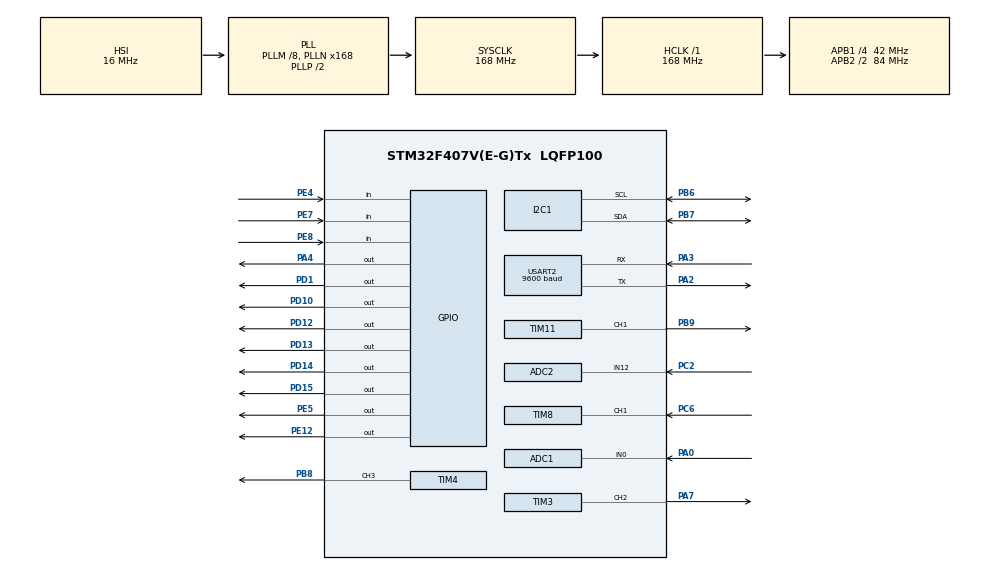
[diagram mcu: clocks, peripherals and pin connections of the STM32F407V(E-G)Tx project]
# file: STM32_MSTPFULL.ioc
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Mcu.Family=STM32F4
RCC.CortexFreq_Value=168000000
TIM8.ICPolarity_CH1=TIM_INPUTCHANNELPOLARITY_BOTHEDGE
ADC2.Channel-0\#ChannelRegularConversion=ADC_CHANNEL_12
RCC.SYSCLKSource=RCC_SYSCLKSOURCE_PLLCLK
ProjectManager.StackSize=0x400
PD13.Signal=GPIO_Output
RCC.HCLKFreq_Value=168000000
RCC.APB2TimFreq_Value=168000000
TIM3.Period=19999
PB6.Signal=I2C1_SCL
PB6.Mode=I2C
PE5.Signal=GPIO_Output
RCC.AHBFreq_Value=168000000
ADC1.Channel-0\#ChannelRegularConversion=ADC_CHANNEL_0
RCC.HSE_VALUE=25000000
TIM4.Channel-PWM\ Generation3\ CH3=TIM_CHANNEL_3
PA14.Mode=Serial_Wire
TIM3.Prescaler=83
PB7.Signal=I2C1_SDA
SH.ADCx_IN0.0=ADC1_IN0,IN0
TIM4.Period=19999
TIM6.Period=0xffff-1
PE4.Signal=GPIO_Input
ADC1.SamplingTime-0\#ChannelRegularConversion=ADC_SAMPLETIME_3CYCLES
PB9.Signal=S_TIM11_CH1
Mcu.Package=LQFP100
USART2.VirtualMode=VM_ASYNC
PD12.Signal=GPIO_Output
ADC2.SamplingTime-0\#ChannelRegularConversion=ADC_SAMPLETIME_3CYCLES
TIM8.Prescaler=83
RCC.APB2CLKDivider=RCC_HCLK_DIV2
RCC.APB1TimFreq_Value=84000000
PE7.Signal=GPIO_Input
ADC2.Rank-0\#ChannelRegularConversion=1
SH.S_TIM11_CH1.0=TIM11_CH1,PWM Generation1 CH1
PD15.Signal=GPIO_Output
PA3.Signal=USART2_RX
ADC1.Rank-0\#ChannelRegularConversion=1
TIM6.Prescaler=84-1
PC2.Signal=ADCx_IN12
PC6.Signal=S_TIM8_CH1
VP_TIM6_VS_ClockSourceINT.Mode=Enable_Timer
TIM8.Channel-Input_Capture1_from_TI1=TIM_CHANNEL_1
PD1.Signal=GPIO_Output
TIM11.Prescaler=209
RCC.APB1CLKDivider=RCC_HCLK_DIV4
USART2.BaudRate=9600
PA0-WKUP.Signal=ADCx_IN0
VP_TIM11_VS_ClockSourceINT.Mode=Enable_Timer
PD10.Signal=GPIO_Output
PA13.Signal=SYS_JTMS-SWDIO
PA3.Mode=Asynchronous
SH.ADCx_IN12.0=ADC2_IN12,IN12
ProjectManager.TargetToolchain=STM32CubeIDE
I2C1.I2C_Mode=I2C_Fast
SH.S_TIM4_CH3.0=TIM4_CH3,PWM Generation3 CH3
TIM4.Prescaler=83
RCC.LSE_VALUE=32768
SH.S_TIM3_CH2.0=TIM3_CH2,PWM Generation2 CH2
SH.S_TIM8_CH1.0=TIM8_CH1,TriggerSource_TI1FP1
SH.S_TIM8_CH1.1=TIM8_CH1,Input_Capture1_from_TI1
board=custom
RCC.VCOOutputFreq_Value=336000000
TIM11.Period=39999
RCC.APB2Freq_Value=84000000
PE8.Signal=GPIO_Input
ADC1.NbrOfConversion=1
PA13.Mode=Serial_Wire
Mcu.Name=STM32F407V(E-G)Tx
PE12.Signal=GPIO_Output
PA2.Signal=USART2_TX
PE4.GPIO_PuPd=GPIO_PULLDOWN
PD14.Signal=GPIO_Output
RCC.48MHZClocksFreq_Value=84000000
PA4.Signal=GPIO_Output
RCC.SYSCLKFreq_VALUE=168000000
ADC1.master=1
ADC2.NbrOfConversionFlag=1
PB7.Mode=I2C
PA14.Signal=SYS_JTCK-SWCLK
ProjectManager.HeapSize=0x200
RCC.HSI_VALUE=16000000
NVIC.PriorityGroup=NVIC_PRIORITYGROUP_4
ADC1.NbrOfConversionFlag=1
TIM3.Channel-PWM\ Generation2\ CH2=TIM_CHANNEL_2
RCC.PLLM=8
RCC.PLLN=168
TIM11.Channel=TIM_CHANNEL_1
PA2.Mode=Asynchronous
PB8.Signal=S_TIM4_CH3
RCC.APB1Freq_Value=42000000
VP_TIM8_VS_ControllerModeReset.Mode=Reset Mode
PA7.Signal=S_TIM3_CH2

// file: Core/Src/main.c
/* USER CODE BEGIN Header */
/**
  ******************************************************************************
  * @file           : main.c
  * @brief          : Main program body
  ******************************************************************************
  * @attention
  *
  * <h2><center>&copy; Copyright (c) 2022 STMicroelectronics.
  * All rights reserved.</center></h2>
  *
  * This software component is licensed by ST under BSD 3-Clause license,
  * the "License"; You may not use this file except in compliance with the
  * License. You may obtain a copy of the License at:
  *                        opensource.org/licenses/BSD-3-Clause
  *
  ******************************************************************************
  */
/* USER CODE END Header */
#include "main.h"

/* USER CODE BEGIN Includes */
#include <stdbool.h>
#include <stdio.h>
#include "string.h"
#define ADXL345_I2C_SLAVE_ADDRESS 0xA6 //0x53 << 1
/* USER CODE END Includes */

ADC_HandleTypeDef hadc1;
ADC_HandleTypeDef hadc2;

I2C_HandleTypeDef hi2c1;

TIM_HandleTypeDef htim3;
TIM_HandleTypeDef htim4;
TIM_HandleTypeDef htim6;
TIM_HandleTypeDef htim8;
TIM_HandleTypeDef htim11;

UART_HandleTypeDef huart2;

/* USER CODE BEGIN PV */
char rx_buffer[50];
int tx_buffer[50];
int tem=0;
int hum=0;
uint32_t echo1;
uint32_t delayy;
float dis1 ;
int limit=10;
int count=0;
uint16_t adc_value;
float Vadc;
uint16_t adcc_value;
float Vadcc;
//char *rx[50];
//char rxx_buffer[50],txx_buffer[50];
bool led_state = false;

uint8_t i;
uint8_t myDatas[6];
int16_t x , y , z;
float xG , yG, zG;
/* USER CODE END PV */

void SystemClock_Config(void);
static void MX_GPIO_Init(void);
static void MX_USART2_UART_Init(void);
static void MX_TIM6_Init(void);
static void MX_TIM11_Init(void);
static void MX_TIM8_Init(void);
static void MX_ADC1_Init(void);
static void MX_I2C1_Init(void);
static void MX_TIM3_Init(void);
static void MX_ADC2_Init(void);
static void MX_TIM4_Init(void);
/* USER CODE BEGIN PFP */
void Scan_I2C_Address();
void ADX345_Init();
void ADXL345_Write(uint8_t wRegister,uint8_t value);
void ADXL345_Read(uint8_t rRegister, uint8_t numberOfBytes);
void Sistem_ON();
void Sistem_OFF();
char rx[50];
void delay(uint16_t time)
{
	__HAL_TIM_SET_COUNTER(&htim6,0);
	while(__HAL_TIM_GET_COUNTER(&htim6)< time);
}

void Set_Pin_Output(GPIO_TypeDef *GPIOx,uint16_t GPIO_Pin)
{
	GPIO_InitTypeDef DHT11_DATA={0};

	DHT11_DATA.Pin=GPIO_Pin;
	DHT11_DATA.Mode=GPIO_MODE_OUTPUT_PP;
	DHT11_DATA.Pull=GPIO_NOPULL;
	DHT11_DATA.Speed=GPIO_SPEED_FREQ_LOW;

	HAL_GPIO_Init(GPIOx, &DHT11_DATA);
}
void Set_Pin_Input(GPIO_TypeDef *GPIOx,uint16_t GPIO_Pin)
{
	GPIO_InitTypeDef DHT11_DATA={0};

	DHT11_DATA.Pin=GPIO_Pin;
	DHT11_DATA.Mode=GPIO_MODE_INPUT;
	DHT11_DATA.Pull=GPIO_NOPULL;
	DHT11_DATA.Speed=GPIO_SPEED_FREQ_LOW;

	HAL_GPIO_Init(GPIOx, &DHT11_DATA);
}
#define DHT11_PORT GPIOA
#define DHT11_PIN GPIO_PIN_4

uint8_t durum=0,Humidity=0,Temperature=0;
uint16_t tempVal=0,humVal=0;
uint8_t dhtval[2];
char sendData[128];
uint8_t mData[40];
uint16_t mTime1 = 0,mTime2 = 0;
uint16_t mbit=0;
uint8_t parityVal=0, genParity=0;
int a = 15;
uint8_t DHT11_Read(void)
{
	for(int a=0;a<40;a++) mData[a]=0;

		mTime1=0, mTime2=0, durum=0, tempVal=0, humVal=0, parityVal=0, genParity=0, mbit=0;
		Set_Pin_Output(DHT11_PORT, DHT11_PIN);
		HAL_GPIO_WritePin(DHT11_PORT, DHT11_PIN, GPIO_PIN_RESET);
		delay(18000);
		Set_Pin_Input(DHT11_PORT, DHT11_PIN);

		__HAL_TIM_SET_COUNTER(&htim6,0);
		while(HAL_GPIO_ReadPin(DHT11_PORT, DHT11_PIN)==GPIO_PIN_SET) if((uint16_t)__HAL_TIM_GET_COUNTER(&htim6)>500) return 0;

		__HAL_TIM_SET_COUNTER(&htim6,0);
	    while(HAL_GPIO_ReadPin(DHT11_PORT, DHT11_PIN)==GPIO_PIN_RESET) if((uint16_t)__HAL_TIM_GET_COUNTER(&htim6)>500) return 0;
	    mTime1 =(uint16_t)__HAL_TIM_GET_COUNTER(&htim6);

	    __HAL_TIM_SET_COUNTER(&htim6,0);
	    while(HAL_GPIO_ReadPin(DHT11_PORT, DHT11_PIN)==GPIO_PIN_SET) if((uint16_t)__HAL_TIM_GET_COUNTER(&htim6)>500) return 0;
	    mTime2 =(uint16_t)__HAL_TIM_GET_COUNTER(&htim6);

	    if(mTime1 < 75 && mTime1 > 85 && mTime2 < 75 && mTime2 > 85)
	    {

	    	return 0;
	    }
	    for(int j=0; j<40; j++)
	    {
	    	__HAL_TIM_SET_COUNTER(&htim6,0);
	    	while(HAL_GPIO_ReadPin(DHT11_PORT, DHT11_PIN)==GPIO_PIN_RESET) if((uint16_t)__HAL_TIM_GET_COUNTER(&htim6)>500) return 0;
	    	__HAL_TIM_SET_COUNTER(&htim6,0);
	    	while(HAL_GPIO_ReadPin(DHT11_PORT, DHT11_PIN)==GPIO_PIN_SET) if((uint16_t)__HAL_TIM_GET_COUNTER(&htim6)>500) return 0;
	    	mTime1=(uint16_t)__HAL_TIM_GET_COUNTER(&htim6);
	    	if(mTime1 >20 && mTime1<30)
	    	{
	    		mbit=0;
	    	}
	    	else if(mTime1>60 && mTime1<80)
	    	{
	    		mbit=1;
	    	}
	    	mData[j]=mbit;
	    }
	    for(int i=0;i <8;i++)
	    {
	    	humVal +=mData[i];
	    	humVal=humVal<<1;
	    }
	    for(int i=16;i <24;i++)
	   	    {
	   	    	tempVal +=mData[i];
	   	    	tempVal=tempVal<<1;
	   	    }
	    for(int i=32;i <40;i++)
	   	    {
	   	    	parityVal +=mData[i];
	   	    	parityVal=parityVal<<1;
	   	    }
	    parityVal=parityVal >>1;
	    humVal=humVal >>1;
	    tempVal=tempVal >>1;
	    genParity=humVal+tempVal;
	    dhtval[0]=tempVal;
	    dhtval[1]=humVal;
	    return 1;
}
/* USER CODE END PFP */

/* USER CODE BEGIN 0 */
void Read_ADC()
{
	HAL_ADC_Start(&hadc1);
	if(HAL_ADC_PollForConversion(&hadc1, 100000)==HAL_OK)
	adc_value=HAL_ADC_GetValue(&hadc1);
	Vadc=5.5*adc_value/4095;
}
void Readd_ADC()
{
	HAL_ADC_Start(&hadc2);
	if(HAL_ADC_PollForConversion(&hadc2, 100000)==HAL_OK)
	adcc_value=HAL_ADC_GetValue(&hadc2);
	Vadcc=5.5*adcc_value/4095;
}

void Deprem_ON()
{
    if (zG<= 1.000)
	 {
		     HAL_GPIO_WritePin(GPIOD, GPIO_PIN_12, GPIO_PIN_SET);
		     HAL_Delay(100);
		     HAL_GPIO_WritePin(GPIOD, GPIO_PIN_12, GPIO_PIN_RESET);
		     HAL_GPIO_WritePin(GPIOE, GPIO_PIN_12, GPIO_PIN_SET);
		     HAL_Delay(360);
		     HAL_GPIO_WritePin(GPIOE, GPIO_PIN_12, GPIO_PIN_RESET);
		     HAL_Delay(720);
		     HAL_GPIO_WritePin(GPIOE, GPIO_PIN_12, GPIO_PIN_SET);
		     HAL_Delay(360);
		     HAL_GPIO_WritePin(GPIOE, GPIO_PIN_12, GPIO_PIN_RESET);

	 }
    else if(zG> 1.00)
     {
		     HAL_GPIO_WritePin(GPIOD,GPIO_PIN_12, GPIO_PIN_RESET);
		     HAL_GPIO_WritePin(GPIOE, GPIO_PIN_12, GPIO_PIN_RESET);
     }
}
void Deprem_OFF()
{
	 if (zG<= 1.000)
     {
             HAL_GPIO_WritePin(GPIOD,   GPIO_PIN_12, GPIO_PIN_RESET);
             HAL_GPIO_WritePin(GPIOE, GPIO_PIN_12, GPIO_PIN_RESET);
     }
     else
     {
             HAL_GPIO_WritePin(GPIOD,   GPIO_PIN_12, GPIO_PIN_RESET);
             HAL_GPIO_WritePin(GPIOE, GPIO_PIN_12, GPIO_PIN_RESET);
     }
}
void Ldr_ON()
{
	 if(Vadc<2.7)
     {
		     HAL_GPIO_WritePin(GPIOD, GPIO_PIN_10, GPIO_PIN_SET);

	 }
    if(Vadc>2.7)
    {
		     HAL_GPIO_WritePin(GPIOD, GPIO_PIN_10, GPIO_PIN_RESET);
		     HAL_Delay(20);
    }
}
void Ldr_OFF()
{
    if(Vadc<2.7)
   	{
   		     HAL_GPIO_WritePin(GPIOD, GPIO_PIN_10, GPIO_PIN_RESET);
   	         HAL_Delay(20);
   }
 	  if(Vadc>2.7)
      {
 	         HAL_GPIO_WritePin(GPIOD, GPIO_PIN_10, GPIO_PIN_RESET);
		     HAL_Delay(20);
     }
}
void Hareket_ON()
{
	if(HAL_GPIO_ReadPin(GPIOE, GPIO_PIN_8) == GPIO_PIN_SET)
	 {
		   HAL_GPIO_WritePin(GPIOD, GPIO_PIN_14, GPIO_PIN_SET);
		   HAL_GPIO_WritePin(GPIOD, GPIO_PIN_1, GPIO_PIN_SET);
		   HAL_Delay(360);
	       HAL_GPIO_WritePin(GPIOD, GPIO_PIN_1, GPIO_PIN_RESET);
		   HAL_Delay(720);
		   HAL_GPIO_WritePin(GPIOD, GPIO_PIN_1, GPIO_PIN_SET);
		   HAL_Delay(360);
		   HAL_GPIO_WritePin(GPIOD, GPIO_PIN_1, GPIO_PIN_RESET);
	}
	if(HAL_GPIO_ReadPin(GPIOE, GPIO_PIN_8) == GPIO_PIN_RESET)
    {
		     HAL_GPIO_WritePin(GPIOD, GPIO_PIN_14, GPIO_PIN_RESET);
		     HAL_GPIO_WritePin(GPIOD, GPIO_PIN_1, GPIO_PIN_RESET);
    }
}
void Hareket_OFF()
{
	 if(HAL_GPIO_ReadPin(GPIOE, GPIO_PIN_8) == GPIO_PIN_RESET)
     {
			HAL_GPIO_WritePin(GPIOD, GPIO_PIN_14, GPIO_PIN_RESET);
		    HAL_GPIO_WritePin(GPIOD, GPIO_PIN_1, GPIO_PIN_RESET);
     }
	 else if(HAL_GPIO_ReadPin(GPIOE, GPIO_PIN_8) == GPIO_PIN_SET);
	{
		    HAL_GPIO_WritePin(GPIOD, GPIO_PIN_14, GPIO_PIN_RESET);
		    HAL_GPIO_WritePin(GPIOD, GPIO_PIN_1, GPIO_PIN_RESET);
	}
}
void Gaz_ON()
{
	if(adcc_value>2000)
   {
		     HAL_GPIO_WritePin(GPIOD, GPIO_PIN_13, GPIO_PIN_SET);
			 HAL_Delay(20);
		     HAL_GPIO_WritePin(GPIOE, GPIO_PIN_12, GPIO_PIN_SET);
		     HAL_Delay(360);
		     HAL_GPIO_WritePin(GPIOE, GPIO_PIN_12, GPIO_PIN_RESET);
		     HAL_Delay(720);
		     HAL_GPIO_WritePin(GPIOE, GPIO_PIN_12, GPIO_PIN_SET);
		     HAL_Delay(360);
		     HAL_GPIO_WritePin(GPIOE, GPIO_PIN_12, GPIO_PIN_RESET);
	}
	else
   {

		    HAL_GPIO_WritePin(GPIOD, GPIO_PIN_13, GPIO_PIN_RESET);
		    HAL_GPIO_WritePin(GPIOE, GPIO_PIN_12, GPIO_PIN_RESET);
    }
}
void Gaz_OFF()
{
			HAL_GPIO_WritePin(GPIOE, GPIO_PIN_12, GPIO_PIN_RESET);
			HAL_GPIO_WritePin(GPIOD, GPIO_PIN_13, GPIO_PIN_RESET);
}
void Fire_ON()
{
	//yangın sensörü
if(HAL_GPIO_ReadPin(GPIOE, GPIO_PIN_7)==GPIO_PIN_RESET)
	     {
		    HAL_GPIO_WritePin(GPIOD, GPIO_PIN_15, GPIO_PIN_SET);
		   HAL_GPIO_WritePin(GPIOE, GPIO_PIN_12, GPIO_PIN_SET);
		    HAL_Delay(360);
		    HAL_GPIO_WritePin(GPIOE, GPIO_PIN_12, GPIO_PIN_RESET);
		    HAL_Delay(720);
		    HAL_GPIO_WritePin(GPIOE, GPIO_PIN_12, GPIO_PIN_SET);
	        HAL_Delay(360);
		    HAL_GPIO_WritePin(GPIOE, GPIO_PIN_12, GPIO_PIN_RESET);

		 }
if(HAL_GPIO_ReadPin(GPIOE, GPIO_PIN_7)==GPIO_PIN_SET)
    {
	        HAL_GPIO_WritePin(GPIOD, GPIO_PIN_15, GPIO_PIN_RESET);
	        HAL_GPIO_WritePin(GPIOE, GPIO_PIN_12, GPIO_PIN_RESET);
     }
}
void Fire_OFF()
{  //YANGIN SENSÖRÜ
	       HAL_GPIO_WritePin(GPIOD, GPIO_PIN_15, GPIO_PIN_RESET);
	       HAL_GPIO_WritePin(GPIOE, GPIO_PIN_12, GPIO_PIN_RESET);
}
void Garaj_ON()
{
	 if(limit>=dis1)
   {
    __HAL_TIM_SET_COMPARE(&htim4,TIM_CHANNEL_3,500);
    HAL_Delay(100);
   __HAL_TIM_SET_COMPARE(&htim4,TIM_CHANNEL_3,1500); //MOTOR HCSR
   HAL_Delay(200);
   }
	 else
    {
       __HAL_TIM_SET_COMPARE(&htim4,TIM_CHANNEL_3,1500);
	  HAL_Delay(100);
	  __HAL_TIM_SET_COMPARE(&htim4,TIM_CHANNEL_3,500);
  }
}
void Garaj_OFF()
{
	 if(limit>=dis1)
  {
   __HAL_TIM_SET_COMPARE(&htim4,TIM_CHANNEL_3,1500);
   HAL_Delay(100);
  }
	 else
   {
      __HAL_TIM_SET_COMPARE(&htim4,TIM_CHANNEL_3,1500);
	  HAL_Delay(100);
 }
}
/* USER CODE END 0 */

int main(void)
{

  /* MCU Configuration--------------------------------------------------------*/

  /* Reset of all peripherals, Initializes the Flash interface and the Systick. */
  HAL_Init();

  /* Configure the system clock */
  SystemClock_Config();

  /* Initialize all configured peripherals */
  MX_GPIO_Init();
  MX_USART2_UART_Init();
  MX_TIM6_Init();
  MX_TIM11_Init();
  MX_TIM8_Init();
  MX_ADC1_Init();
  MX_I2C1_Init();
  MX_TIM3_Init();
  MX_ADC2_Init();
  MX_TIM4_Init();
  /* USER CODE BEGIN 2 */
  Scan_I2C_Address();
  ADX345_Init();
  HAL_TIM_Base_Start(&htim6);
  HAL_TIM_Base_Start(&htim8);
  HAL_TIM_Base_Start(&htim11);
  HAL_TIM_PWM_Start(&htim11,  TIM_CHANNEL_1);
  HAL_TIM_PWM_Start(&htim3, TIM_CHANNEL_3);
  HAL_TIM_PWM_Start(&htim3, TIM_CHANNEL_4);
  HAL_TIM_PWM_Start(&htim3, TIM_CHANNEL_2);
  HAL_TIM_PWM_Start(&htim4,  TIM_CHANNEL_3);
  HAL_TIM_IC_Start(&htim8, TIM_CHANNEL_1);

  TIM11->CCR1=3;
  /* USER CODE END 2 */

  /* Infinite loop */
  while (1)
  {

    /* USER CODE BEGIN 3 */

	  Read_ADC();
	  Readd_ADC();
	  ADXL345_Read(0x32, 6);
	  x= (myDatas[1] << 8) | myDatas[0] ; // x value in myDatas[0] myDatas[1];
	  y= (myDatas[3] << 8) | myDatas[2] ; // x value in myDatas[2] myDatas[3];
	  z= (myDatas[5] << 8) | myDatas[4] ; // x value in myDatas[5] myDatas[4];
	  xG=x* .0087;
	  yG=y* .0087;
	  zG=z* .0087;
	  HAL_Delay(10);
	  HAL_UART_Receive(&huart2, (uint8_t*)rx_buffer, 50, 100);
	  durum=DHT11_Read();
			  if(durum==1)
			  {
				  Temperature=tempVal;
				  Humidity=humVal;
				  hum=humVal;
				  tem=tempVal;
			  }
			    if(durum==1)
			 {
				    uint16_t len = sprintf(sendData, "Nem Değeri: %d\n Sıcaklık: %d\n\r", dhtval[1], dhtval[0]);
				     //send data with UART
				     HAL_UART_Transmit(&huart2, (uint8_t*)sendData, len, 100);
				     //    HAL_Delay(1000);
			   }
			  if(HAL_GetTick()-delayy >= 100)//hcsr
		      {
				  delayy=HAL_GetTick();
				  echo1=HAL_TIM_ReadCapturedValue(&htim8, TIM_CHANNEL_1);
				  dis1=echo1/58.0f;
		     }
			  HAL_Delay(1000);
	       HAL_Delay(1000);
			  if(rx_buffer[0]=='w')
			  {
			 	 Sistem_ON();
			  }
			  if(rx_buffer[0]=='z')
			  {
				  Sistem_OFF();
			  }
			  if(rx_buffer[0]=='a')//ldac
			  {
				   Fire_ON();
				   Deprem_ON();
				   Ldr_ON();
				   Hareket_OFF();
				   Gaz_ON();
				   Garaj_ON();
				   HAL_GPIO_WritePin(GPIOE,GPIO_PIN_5, GPIO_PIN_SET);
				   HAL_Delay(1000);
			  }
			  if(rx_buffer[0]=='b')//leadkapa
			 			  {
				   Fire_ON();
				   Deprem_ON();
				   Ldr_ON();
				   Hareket_OFF();
				   Gaz_ON();
				   Garaj_ON();
				   HAL_GPIO_WritePin(GPIOE,GPIO_PIN_5, GPIO_PIN_RESET);
				   HAL_Delay(1000);
			 			  }

			  if(rx_buffer[0]=='o')//motoracPENCERE
			 	  {
					__HAL_TIM_SET_COMPARE(&htim3,TIM_CHANNEL_2,1500);
							   HAL_Delay(200);
							 //  __HAL_TIM_SET_COMPARE(&htim3,TIM_CHANNEL_2,500);
								HAL_Delay(200);
				   Fire_ON();
				   Deprem_ON();
				   Ldr_ON();
				   Hareket_OFF();
				  Gaz_ON();
				   Garaj_ON();

			 		  }
			  if(rx_buffer[0]=='c')//motorkapaPENCERE
			 			  {
					__HAL_TIM_SET_COMPARE(&htim3,TIM_CHANNEL_2,500);
									HAL_Delay(200);
							//  __HAL_TIM_SET_COMPARE(&htim3,TIM_CHANNEL_2,1500);
									HAL_Delay(200);
				   Fire_ON();
				   Deprem_ON();
				   Ldr_ON();
				   Hareket_OFF();
				   Gaz_ON();
				   Garaj_ON();

			 			  }
			  if(rx_buffer[0]=='d')//ldr ac
			 			  {
				   Fire_ON();
				   Deprem_ON();
				   Ldr_ON();
				   Hareket_OFF();
				   Gaz_ON();
				   Garaj_ON();
			 			  }

			  if(rx_buffer[0]=='e')//ldrkapa
			 			  {
				   Fire_ON();
				   Deprem_ON();
				   Ldr_OFF();
				   Hareket_OFF();
				   Gaz_ON();
				   Garaj_ON();
			 			  }
			  if(rx_buffer[0]=='f')//pırac
			 			  {
				   Fire_OFF();
				   Deprem_OFF();
				   Ldr_OFF();
				   Hareket_ON();
				   Gaz_OFF();
				   Garaj_OFF();
			 			  }
			  if(rx_buffer[0]=='g')//pırkapa
			 			  {
				   Fire_OFF();
				   Deprem_OFF();
				   Ldr_OFF();
				   Hareket_OFF();
				   Gaz_OFF();
				   Garaj_OFF();
			 			  }
			  if(rx_buffer[0]=='h')//gazon
			 	 		  {
				   Fire_ON();
				   Deprem_ON();
				   Ldr_ON();
				   Hareket_OFF();
				   Gaz_ON();
				   Garaj_ON();
			 			  }
			  if(rx_buffer[0]=='j')//gazof
			 			  {
				   Fire_ON();
				   Deprem_ON();
				   Ldr_ON();
				   Hareket_OFF();
				   Gaz_OFF();
				   Garaj_ON();
			 			  }
			  if(rx_buffer[0]=='k')//yangınac
						   {
				   Fire_ON();
				   Deprem_ON();
				   Ldr_ON();
				   Hareket_OFF();
				   Gaz_ON();
				   Garaj_ON();
						   }
			  if(rx_buffer[0]=='l')//yangın kapat
			 			  {
				   Fire_OFF();
				   Deprem_ON();
				   Ldr_ON();
				   Hareket_OFF();
				   Gaz_ON();
				   Garaj_ON();
			 			  }
			  if(rx_buffer[0]=='m')//depremac
			 			  {
				   Fire_ON();
				   Deprem_ON();
				   Ldr_ON();
				   Hareket_OFF();
				   Gaz_ON();
				   Garaj_ON();
			 			  }
			  if(rx_buffer[0]=='n')//depremkapa
			 			  {
				   Fire_ON();
				   Deprem_OFF();
				   Ldr_ON();
				   Hareket_OFF();
				   Gaz_ON();
				   Garaj_ON();
			 			  }
			  if(rx_buffer[0]=='p')//garaj on
			 			  {
				   Fire_ON();
				   Deprem_ON();
				   Ldr_ON();
				   Hareket_OFF();
				   Gaz_ON();
				   Garaj_ON();
			 			  }
			  if(rx_buffer[0]=='r')//garakof
			 			  {
				   Fire_ON();
				   Deprem_ON();
				   Ldr_ON();
				   Hareket_OFF();
				   Gaz_ON();
				   Garaj_OFF();
			 			  }
			  if(rx_buffer[0]=='s')//kapıac
			 			  {
				  __HAL_TIM_SET_COMPARE(&htim3,TIM_CHANNEL_2,1500);
				 				   HAL_Delay(200);
				 				  __HAL_TIM_SET_COMPARE(&htim3,TIM_CHANNEL_2,500);
				 				   HAL_Delay(200);
				  // Fire_ON();
				//   Deprem_ON();
				 //  Ldr_ON();
				 //  Hareket_OFF();
				 //  Gaz_ON();
				 //  Garaj_ON();

			 			  }
			  if(rx_buffer[0]=='t')//kapıkapa
			 			  {
				   __HAL_TIM_SET_COMPARE(&htim3,TIM_CHANNEL_2,500);
							   HAL_Delay(200);
								   __HAL_TIM_SET_COMPARE(&htim3,TIM_CHANNEL_2,1500);
							   HAL_Delay(200);
				//   Fire_ON();
				//   Deprem_ON();
				 //  Ldr_ON();
				//   Hareket_OFF();
				 //  Gaz_ON();
				 //  Garaj_ON();

			 			  }
			  if(rx_buffer[0]=='y')
			  {
				  Fire_ON();
				  Gaz_ON();
				  Hareket_ON();
			  }
	                if(HAL_GPIO_ReadPin(GPIOE, GPIO_PIN_4))
	             		{
	                     while(HAL_GPIO_ReadPin(GPIOE, GPIO_PIN_4))
	                       HAL_Delay(100);
	                      count++;
	            		}
	                 if(count%2==1)
	                  {
	                 	  	 HAL_GPIO_WritePin(GPIOE,GPIO_PIN_5, GPIO_PIN_SET);
	                   }
	                 else if(count%2==0)
	                 {
	                 	     HAL_GPIO_WritePin(GPIOE,GPIO_PIN_5, GPIO_PIN_RESET);
	                  }

   }
  /* USER CODE END 3 */
}

void SystemClock_Config(void)
{
  RCC_OscInitTypeDef RCC_OscInitStruct = {0};
  RCC_ClkInitTypeDef RCC_ClkInitStruct = {0};

  /** Configure the main internal regulator output voltage
  */
  __HAL_RCC_PWR_CLK_ENABLE();
  __HAL_PWR_VOLTAGESCALING_CONFIG(PWR_REGULATOR_VOLTAGE_SCALE1);
  /** Initializes the RCC Oscillators according to the specified parameters
  * in the RCC_OscInitTypeDef structure.
  */
  RCC_OscInitStruct.OscillatorType = RCC_OSCILLATORTYPE_HSI;
  RCC_OscInitStruct.HSIState = RCC_HSI_ON;
  RCC_OscInitStruct.HSICalibrationValue = RCC_HSICALIBRATION_DEFAULT;
  RCC_OscInitStruct.PLL.PLLState = RCC_PLL_ON;
  RCC_OscInitStruct.PLL.PLLSource = RCC_PLLSOURCE_HSI;
  RCC_OscInitStruct.PLL.PLLM = 8;
  RCC_OscInitStruct.PLL.PLLN = 168;
  RCC_OscInitStruct.PLL.PLLP = RCC_PLLP_DIV2;
  RCC_OscInitStruct.PLL.PLLQ = 4;
  if (HAL_RCC_OscConfig(&RCC_OscInitStruct) != HAL_OK)
  {
    Error_Handler();
  }
  /** Initializes the CPU, AHB and APB buses clocks
  */
  RCC_ClkInitStruct.ClockType = RCC_CLOCKTYPE_HCLK|RCC_CLOCKTYPE_SYSCLK
                              |RCC_CLOCKTYPE_PCLK1|RCC_CLOCKTYPE_PCLK2;
  RCC_ClkInitStruct.SYSCLKSource = RCC_SYSCLKSOURCE_PLLCLK;
  RCC_ClkInitStruct.AHBCLKDivider = RCC_SYSCLK_DIV1;
  RCC_ClkInitStruct.APB1CLKDivider = RCC_HCLK_DIV4;
  RCC_ClkInitStruct.APB2CLKDivider = RCC_HCLK_DIV2;

  if (HAL_RCC_ClockConfig(&RCC_ClkInitStruct, FLASH_LATENCY_5) != HAL_OK)
  {
    Error_Handler();
  }
}

static void MX_ADC1_Init(void)
{

  ADC_ChannelConfTypeDef sConfig = {0};

  /** Configure the global features of the ADC (Clock, Resolution, Data Alignment and number of conversion)
  */
  hadc1.Instance = ADC1;
  hadc1.Init.ClockPrescaler = ADC_CLOCK_SYNC_PCLK_DIV4;
  hadc1.Init.Resolution = ADC_RESOLUTION_12B;
  hadc1.Init.ScanConvMode = DISABLE;
  hadc1.Init.ContinuousConvMode = DISABLE;
  hadc1.Init.DiscontinuousConvMode = DISABLE;
  hadc1.Init.ExternalTrigConvEdge = ADC_EXTERNALTRIGCONVEDGE_NONE;
  hadc1.Init.ExternalTrigConv = ADC_SOFTWARE_START;
  hadc1.Init.DataAlign = ADC_DATAALIGN_RIGHT;
  hadc1.Init.NbrOfConversion = 1;
  hadc1.Init.DMAContinuousRequests = DISABLE;
  hadc1.Init.EOCSelection = ADC_EOC_SINGLE_CONV;
  if (HAL_ADC_Init(&hadc1) != HAL_OK)
  {
    Error_Handler();
  }
  /** Configure for the selected ADC regular channel its corresponding rank in the sequencer and its sample time.
  */
  sConfig.Channel = ADC_CHANNEL_0;
  sConfig.Rank = 1;
  sConfig.SamplingTime = ADC_SAMPLETIME_3CYCLES;
  if (HAL_ADC_ConfigChannel(&hadc1, &sConfig) != HAL_OK)
  {
    Error_Handler();
  }

}

static void MX_ADC2_Init(void)
{

  ADC_ChannelConfTypeDef sConfig = {0};

  /** Configure the global features of the ADC (Clock, Resolution, Data Alignment and number of conversion)
  */
  hadc2.Instance = ADC2;
  hadc2.Init.ClockPrescaler = ADC_CLOCK_SYNC_PCLK_DIV4;
  hadc2.Init.Resolution = ADC_RESOLUTION_12B;
  hadc2.Init.ScanConvMode = DISABLE;
  hadc2.Init.ContinuousConvMode = DISABLE;
  hadc2.Init.DiscontinuousConvMode = DISABLE;
  hadc2.Init.ExternalTrigConvEdge = ADC_EXTERNALTRIGCONVEDGE_NONE;
  hadc2.Init.ExternalTrigConv = ADC_SOFTWARE_START;
  hadc2.Init.DataAlign = ADC_DATAALIGN_RIGHT;
  hadc2.Init.NbrOfConversion = 1;
  hadc2.Init.DMAContinuousRequests = DISABLE;
  hadc2.Init.EOCSelection = ADC_EOC_SINGLE_CONV;
  if (HAL_ADC_Init(&hadc2) != HAL_OK)
  {
    Error_Handler();
  }
  /** Configure for the selected ADC regular channel its corresponding rank in the sequencer and its sample time.
  */
  sConfig.Channel = ADC_CHANNEL_12;
  sConfig.Rank = 1;
  sConfig.SamplingTime = ADC_SAMPLETIME_3CYCLES;
  if (HAL_ADC_ConfigChannel(&hadc2, &sConfig) != HAL_OK)
  {
    Error_Handler();
  }

}

static void MX_I2C1_Init(void)
{

  hi2c1.Instance = I2C1;
  hi2c1.Init.ClockSpeed = 400000;
  hi2c1.Init.DutyCycle = I2C_DUTYCYCLE_2;
  hi2c1.Init.OwnAddress1 = 0;
  hi2c1.Init.AddressingMode = I2C_ADDRESSINGMODE_7BIT;
  hi2c1.Init.DualAddressMode = I2C_DUALADDRESS_DISABLE;
  hi2c1.Init.OwnAddress2 = 0;
  hi2c1.Init.GeneralCallMode = I2C_GENERALCALL_DISABLE;
  hi2c1.Init.NoStretchMode = I2C_NOSTRETCH_DISABLE;
  if (HAL_I2C_Init(&hi2c1) != HAL_OK)
  {
    Error_Handler();
  }

}

static void MX_TIM3_Init(void)
{

  TIM_MasterConfigTypeDef sMasterConfig = {0};
  TIM_OC_InitTypeDef sConfigOC = {0};

  htim3.Instance = TIM3;
  htim3.Init.Prescaler = 83;
  htim3.Init.CounterMode = TIM_COUNTERMODE_UP;
  htim3.Init.Period = 19999;
  htim3.Init.ClockDivision = TIM_CLOCKDIVISION_DIV1;
  htim3.Init.AutoReloadPreload = TIM_AUTORELOAD_PRELOAD_DISABLE;
  if (HAL_TIM_PWM_Init(&htim3) != HAL_OK)
  {
    Error_Handler();
  }
  sMasterConfig.MasterOutputTrigger = TIM_TRGO_RESET;
  sMasterConfig.MasterSlaveMode = TIM_MASTERSLAVEMODE_DISABLE;
  if (HAL_TIMEx_MasterConfigSynchronization(&htim3, &sMasterConfig) != HAL_OK)
  {
    Error_Handler();
  }
  sConfigOC.OCMode = TIM_OCMODE_PWM1;
  sConfigOC.Pulse = 0;
  sConfigOC.OCPolarity = TIM_OCPOLARITY_HIGH;
  sConfigOC.OCFastMode = TIM_OCFAST_DISABLE;
  if (HAL_TIM_PWM_ConfigChannel(&htim3, &sConfigOC, TIM_CHANNEL_2) != HAL_OK)
  {
    Error_Handler();
  }
  HAL_TIM_MspPostInit(&htim3);

}

static void MX_TIM4_Init(void)
{

  TIM_MasterConfigTypeDef sMasterConfig = {0};
  TIM_OC_InitTypeDef sConfigOC = {0};

  htim4.Instance = TIM4;
  htim4.Init.Prescaler = 83;
  htim4.Init.CounterMode = TIM_COUNTERMODE_UP;
  htim4.Init.Period = 19999;
  htim4.Init.ClockDivision = TIM_CLOCKDIVISION_DIV1;
  htim4.Init.AutoReloadPreload = TIM_AUTORELOAD_PRELOAD_DISABLE;
  if (HAL_TIM_PWM_Init(&htim4) != HAL_OK)
  {
    Error_Handler();
  }
  sMasterConfig.MasterOutputTrigger = TIM_TRGO_RESET;
  sMasterConfig.MasterSlaveMode = TIM_MASTERSLAVEMODE_DISABLE;
  if (HAL_TIMEx_MasterConfigSynchronization(&htim4, &sMasterConfig) != HAL_OK)
  {
    Error_Handler();
  }
  sConfigOC.OCMode = TIM_OCMODE_PWM1;
  sConfigOC.Pulse = 0;
  sConfigOC.OCPolarity = TIM_OCPOLARITY_HIGH;
  sConfigOC.OCFastMode = TIM_OCFAST_DISABLE;
  if (HAL_TIM_PWM_ConfigChannel(&htim4, &sConfigOC, TIM_CHANNEL_3) != HAL_OK)
  {
    Error_Handler();
  }
  HAL_TIM_MspPostInit(&htim4);

}

static void MX_TIM6_Init(void)
{

  TIM_MasterConfigTypeDef sMasterConfig = {0};

  htim6.Instance = TIM6;
  htim6.Init.Prescaler = 84-1;
  htim6.Init.CounterMode = TIM_COUNTERMODE_UP;
  htim6.Init.Period = 0xffff-1;
  htim6.Init.AutoReloadPreload = TIM_AUTORELOAD_PRELOAD_DISABLE;
  if (HAL_TIM_Base_Init(&htim6) != HAL_OK)
  {
    Error_Handler();
  }
  sMasterConfig.MasterOutputTrigger = TIM_TRGO_RESET;
  sMasterConfig.MasterSlaveMode = TIM_MASTERSLAVEMODE_DISABLE;
  if (HAL_TIMEx_MasterConfigSynchronization(&htim6, &sMasterConfig) != HAL_OK)
  {
    Error_Handler();
  }

}

static void MX_TIM8_Init(void)
{

  TIM_SlaveConfigTypeDef sSlaveConfig = {0};
  TIM_MasterConfigTypeDef sMasterConfig = {0};
  TIM_IC_InitTypeDef sConfigIC = {0};

  htim8.Instance = TIM8;
  htim8.Init.Prescaler = 83;
  htim8.Init.CounterMode = TIM_COUNTERMODE_UP;
  htim8.Init.Period = 65535;
  htim8.Init.ClockDivision = TIM_CLOCKDIVISION_DIV1;
  htim8.Init.RepetitionCounter = 0;
  htim8.Init.AutoReloadPreload = TIM_AUTORELOAD_PRELOAD_DISABLE;
  if (HAL_TIM_Base_Init(&htim8) != HAL_OK)
  {
    Error_Handler();
  }
  if (HAL_TIM_IC_Init(&htim8) != HAL_OK)
  {
    Error_Handler();
  }
  sSlaveConfig.SlaveMode = TIM_SLAVEMODE_RESET;
  sSlaveConfig.InputTrigger = TIM_TS_TI1FP1;
  sSlaveConfig.TriggerPolarity = TIM_INPUTCHANNELPOLARITY_BOTHEDGE;
  sSlaveConfig.TriggerFilter = 0;
  if (HAL_TIM_SlaveConfigSynchro(&htim8, &sSlaveConfig) != HAL_OK)
  {
    Error_Handler();
  }
  sMasterConfig.MasterOutputTrigger = TIM_TRGO_RESET;
  sMasterConfig.MasterSlaveMode = TIM_MASTERSLAVEMODE_DISABLE;
  if (HAL_TIMEx_MasterConfigSynchronization(&htim8, &sMasterConfig) != HAL_OK)
  {
    Error_Handler();
  }
  sConfigIC.ICPolarity = TIM_INPUTCHANNELPOLARITY_BOTHEDGE;
  sConfigIC.ICSelection = TIM_ICSELECTION_DIRECTTI;
  sConfigIC.ICPrescaler = TIM_ICPSC_DIV1;
  sConfigIC.ICFilter = 0;
  if (HAL_TIM_IC_ConfigChannel(&htim8, &sConfigIC, TIM_CHANNEL_1) != HAL_OK)
  {
    Error_Handler();
  }

}

static void MX_TIM11_Init(void)
{

  TIM_OC_InitTypeDef sConfigOC = {0};

  htim11.Instance = TIM11;
  htim11.Init.Prescaler = 209;
  htim11.Init.CounterMode = TIM_COUNTERMODE_UP;
  htim11.Init.Period = 39999;
  htim11.Init.ClockDivision = TIM_CLOCKDIVISION_DIV1;
  htim11.Init.AutoReloadPreload = TIM_AUTORELOAD_PRELOAD_DISABLE;
  if (HAL_TIM_Base_Init(&htim11) != HAL_OK)
  {
    Error_Handler();
  }
  if (HAL_TIM_PWM_Init(&htim11) != HAL_OK)
  {
    Error_Handler();
  }
  sConfigOC.OCMode = TIM_OCMODE_PWM1;
  sConfigOC.Pulse = 0;
  sConfigOC.OCPolarity = TIM_OCPOLARITY_HIGH;
  sConfigOC.OCFastMode = TIM_OCFAST_DISABLE;
  if (HAL_TIM_PWM_ConfigChannel(&htim11, &sConfigOC, TIM_CHANNEL_1) != HAL_OK)
  {
    Error_Handler();
  }
  HAL_TIM_MspPostInit(&htim11);

}

static void MX_USART2_UART_Init(void)
{

  huart2.Instance = USART2;
  huart2.Init.BaudRate = 9600;
  huart2.Init.WordLength = UART_WORDLENGTH_8B;
  huart2.Init.StopBits = UART_STOPBITS_1;
  huart2.Init.Parity = UART_PARITY_NONE;
  huart2.Init.Mode = UART_MODE_TX_RX;
  huart2.Init.HwFlowCtl = UART_HWCONTROL_NONE;
  huart2.Init.OverSampling = UART_OVERSAMPLING_16;
  if (HAL_UART_Init(&huart2) != HAL_OK)
  {
    Error_Handler();
  }

}

static void MX_GPIO_Init(void)
{
  GPIO_InitTypeDef GPIO_InitStruct = {0};

  /* GPIO Ports Clock Enable */
  __HAL_RCC_GPIOE_CLK_ENABLE();
  __HAL_RCC_GPIOC_CLK_ENABLE();
  __HAL_RCC_GPIOA_CLK_ENABLE();
  __HAL_RCC_GPIOD_CLK_ENABLE();
  __HAL_RCC_GPIOB_CLK_ENABLE();

  /*Configure GPIO pin Output Level */
  HAL_GPIO_WritePin(GPIOE, GPIO_PIN_5|GPIO_PIN_12, GPIO_PIN_RESET);

  /*Configure GPIO pin Output Level */
  HAL_GPIO_WritePin(GPIOA, GPIO_PIN_4, GPIO_PIN_RESET);

  /*Configure GPIO pin Output Level */
  HAL_GPIO_WritePin(GPIOD, GPIO_PIN_10|GPIO_PIN_12|GPIO_PIN_13|GPIO_PIN_14
                          |GPIO_PIN_15|GPIO_PIN_1, GPIO_PIN_RESET);

  /*Configure GPIO pin : PE4 */
  GPIO_InitStruct.Pin = GPIO_PIN_4;
  GPIO_InitStruct.Mode = GPIO_MODE_INPUT;
  GPIO_InitStruct.Pull = GPIO_PULLDOWN;
  HAL_GPIO_Init(GPIOE, &GPIO_InitStruct);

  /*Configure GPIO pins : PE5 PE12 */
  GPIO_InitStruct.Pin = GPIO_PIN_5|GPIO_PIN_12;
  GPIO_InitStruct.Mode = GPIO_MODE_OUTPUT_PP;
  GPIO_InitStruct.Pull = GPIO_NOPULL;
  GPIO_InitStruct.Speed = GPIO_SPEED_FREQ_LOW;
  HAL_GPIO_Init(GPIOE, &GPIO_InitStruct);

  /*Configure GPIO pin : PA4 */
  GPIO_InitStruct.Pin = GPIO_PIN_4;
  GPIO_InitStruct.Mode = GPIO_MODE_OUTPUT_PP;
  GPIO_InitStruct.Pull = GPIO_NOPULL;
  GPIO_InitStruct.Speed = GPIO_SPEED_FREQ_LOW;
  HAL_GPIO_Init(GPIOA, &GPIO_InitStruct);

  /*Configure GPIO pins : PE7 PE8 */
  GPIO_InitStruct.Pin = GPIO_PIN_7|GPIO_PIN_8;
  GPIO_InitStruct.Mode = GPIO_MODE_INPUT;
  GPIO_InitStruct.Pull = GPIO_NOPULL;
  HAL_GPIO_Init(GPIOE, &GPIO_InitStruct);

  /*Configure GPIO pins : PD10 PD12 PD13 PD14
                           PD15 PD1 */
  GPIO_InitStruct.Pin = GPIO_PIN_10|GPIO_PIN_12|GPIO_PIN_13|GPIO_PIN_14
                          |GPIO_PIN_15|GPIO_PIN_1;
  GPIO_InitStruct.Mode = GPIO_MODE_OUTPUT_PP;
  GPIO_InitStruct.Pull = GPIO_NOPULL;
  GPIO_InitStruct.Speed = GPIO_SPEED_FREQ_LOW;
  HAL_GPIO_Init(GPIOD, &GPIO_InitStruct);

}

/* USER CODE BEGIN 4 */
void Scan_I2C_Address()
{
	for(int i=0;i<=255;i++)
	{
		if(HAL_I2C_IsDeviceReady(&hi2c1, i, 1, 10)==HAL_OK)
		break;
	}
}
void ADXL345_Write(uint8_t wRegister,uint8_t value)
{
	uint8_t data[2] = {0};
	data[0]=wRegister;
	data[1]=value;
	HAL_I2C_Master_Transmit(&hi2c1, ADXL345_I2C_SLAVE_ADDRESS, data, 2, 100);
}
void ADXL345_Read(uint8_t rRegister,uint8_t numberOfBytes)
{
	HAL_I2C_Mem_Read(&hi2c1, ADXL345_I2C_SLAVE_ADDRESS, rRegister, 1, myDatas, numberOfBytes, 100);
}
void ADX345_Init()
{
	ADXL345_Read(0x00, 1);//if the read data 0xe5 ,device is read
	ADXL345_Write(0x2D, 0);//reset  powe controlls ALL bits
	//SetUp->
	ADXL345_Write(0x2D, 0x08);//measure bit1, wake up bit 0, autosleep 0,sleep 0,wake up frequence 8
    ADXL345_Write(0x31, 0x01);//-+ 4g range
}

void Sistem_ON()
{
   Fire_ON();
   Deprem_ON();
   Ldr_ON();
   Hareket_OFF();
   Gaz_ON();
   Garaj_ON();

}
void Sistem_OFF()
{
	Gaz_OFF();
	Hareket_OFF();
	Ldr_OFF();
	Deprem_OFF();
	Fire_OFF();
	Garaj_OFF();

}
/* USER CODE END 4 */

void Error_Handler(void)
{
  __disable_irq();
  while (1)
  {
  }
}

/************************ (C) COPYRIGHT STMicroelectronics *****END OF FILE****/
